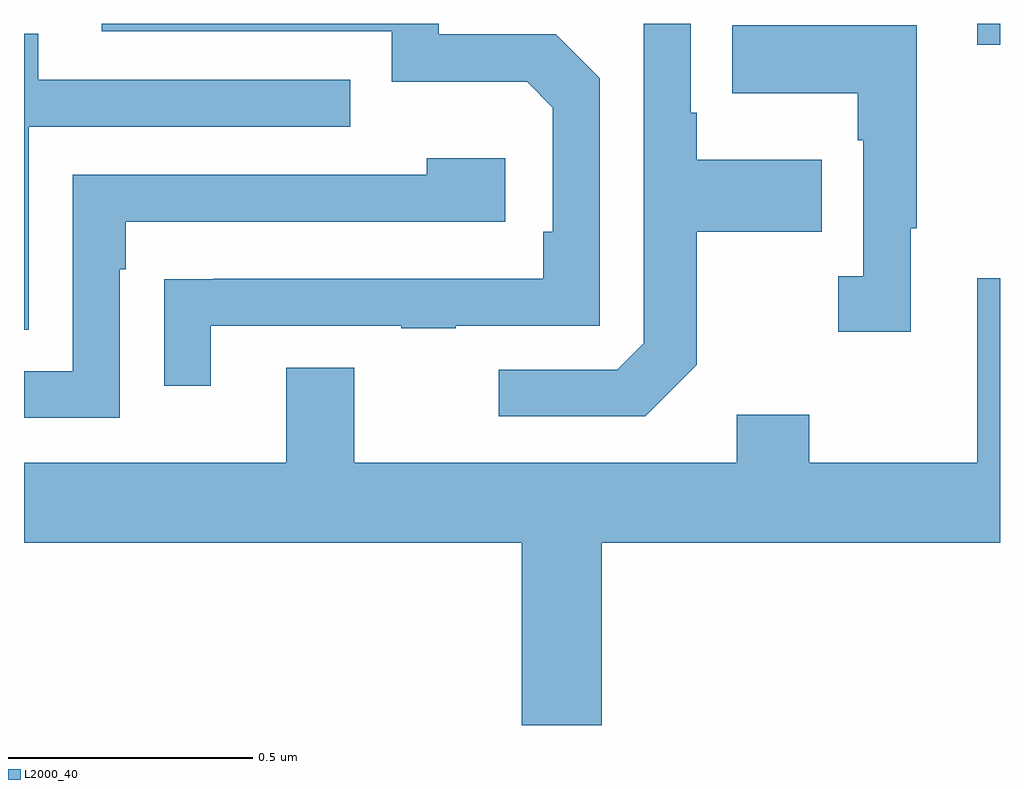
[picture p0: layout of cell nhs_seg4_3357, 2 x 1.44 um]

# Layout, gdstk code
import gdstk
lib = gdstk.Library(unit=1e-6, precision=1e-09)
def R(c, l, rs):  # rectangles x0, y0, x1, y1
    for r in rs: c.add(gdstk.rectangle(r[:2], r[2:], *l))
def P(c, l, *ps):  # polygons
    for p in ps: c.add(gdstk.Polygon(p, *l))
L2000_40 = (2000, 40)

nhs_seg4_3357 = lib.new_cell('nhs_seg4_3357')
R(nhs_seg4_3357, L2000_40, [(153.953,781.857,154,781.9)])
P(nhs_seg4_3357, L2000_40, [(152.383,781.281),(152.773,781.281),(152.773,781.276),(152.885,781.276),(152.885,781.281),(153.18,781.281),(153.18,781.788),(153.09,781.878),(152.85,781.878),(152.85,781.9),(152.159,781.9),(152.159,781.884),(152.754,781.884),(152.754,781.781),(153.031,781.781),(153.084,781.728),(153.084,781.474),(153.064,781.474),(153.064,781.377),(152.389,781.377),(152.389,781.376),(152.287,781.376),(152.287,781.158),(152.383,781.158)],
  [(153.379,781.201),(153.379,781.474),(153.635,781.474),(153.635,781.621),(153.379,781.621),(153.379,781.717),(153.366,781.717),(153.366,781.9),(153.27,781.9),(153.27,781.245),(153.216,781.191),(152.973,781.191),(152.973,781.095),(153.273,781.095)],
  [(153.817,781.481),(153.829,781.481),(153.829,781.897),(153.451,781.897),(153.451,781.757),(153.708,781.757),(153.708,781.661),(153.72,781.661),(153.72,781.382),(153.669,781.382),(153.669,781.269),(153.817,781.269)],
  [(152.01,781.689),(152.669,781.689),(152.669,781.785),(152.029,781.785),(152.029,781.879),(152,781.879),(152,781.273),(152.01,781.273)],
  [(152.196,781.397),(152.209,781.397),(152.209,781.494),(152.986,781.494),(152.986,781.624),(152.825,781.624),(152.825,781.59),(152.1,781.59),(152.1,781.188),(152,781.188),(152,781.092),(152.196,781.092)],
  [(153.184,780.836),(154,780.836),(154,781.378),(153.953,781.378),(153.953,781),(153.609,781),(153.609,781.099),(153.461,781.099),(153.461,781),(152.677,781),(152.677,781.195),(152.537,781.195),(152.537,781),(152,781),(152,780.836),(153.02,780.836),(153.02,780.462),(153.184,780.462)])

lib.write_gds('nhs_seg4_3357.gds')
